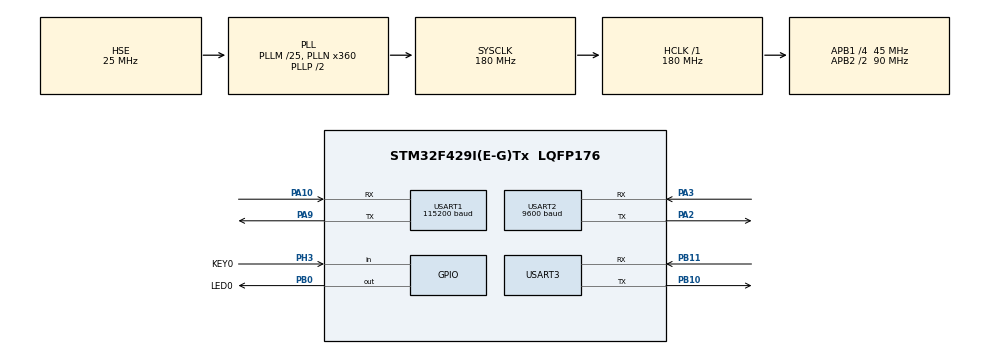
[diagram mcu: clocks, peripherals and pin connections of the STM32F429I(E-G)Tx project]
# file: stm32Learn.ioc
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FREERTOS.Tasks01=dataPushTask,0,1024,DataPushTask,Default,NULL,Dynamic,NULL,NULL
FREERTOS.configCHECK_FOR_STACK_OVERFLOW=2
FREERTOS.configTOTAL_HEAP_SIZE=102400
FREERTOS.configUSE_MALLOC_FAILED_HOOK=1
FREERTOS.configUSE_NEWLIB_REENTRANT=1
FREERTOS.configUSE_STATS_FORMATTING_FUNCTIONS=1
Mcu.Family=STM32F4
Mcu.Name=STM32F429I(E-G)Tx
Mcu.Package=LQFP176
NVIC.PriorityGroup=NVIC_PRIORITYGROUP_4
NVIC.TIM6_DAC_IRQn=true\:15\:0\:false\:false\:true\:false\:false\:true\:true
NVIC.TimeBase=TIM6_DAC_IRQn
NVIC.TimeBaseIP=TIM6
NVIC.USART1_IRQn=true\:5\:0\:true\:false\:true\:true\:true\:true\:true
NVIC.USART2_IRQn=true\:5\:0\:true\:false\:true\:true\:true\:true\:true
NVIC.USART3_IRQn=true\:5\:0\:true\:false\:true\:true\:true\:true\:true
PA10.GPIO_ModeDefaultPP=GPIO_MODE_AF_PP
PA10.GPIO_PuPd=GPIO_NOPULL
PA10.GPIO_Speed=GPIO_SPEED_FREQ_VERY_HIGH
PA10.Mode=Asynchronous
PA10.Signal=USART1_RX
PA13.Mode=Serial_Wire
PA13.Signal=SYS_JTMS-SWDIO
PA14.Mode=Serial_Wire
PA14.Signal=SYS_JTCK-SWCLK
PA2.Mode=Asynchronous
PA2.Signal=USART2_TX
PA3.Mode=Asynchronous
PA3.Signal=USART2_RX
PA9.GPIO_ModeDefaultPP=GPIO_MODE_AF_PP
PA9.GPIO_PuPd=GPIO_NOPULL
PA9.GPIO_Speed=GPIO_SPEED_FREQ_VERY_HIGH
PA9.Mode=Asynchronous
PA9.Signal=USART1_TX
PB0.GPIO_Label=LED0
PB0.GPIO_PuPd=GPIO_PULLUP
PB0.GPIO_Speed=GPIO_SPEED_FREQ_LOW
PB0.PinState=GPIO_PIN_SET
PB0.Signal=GPIO_Output
PB10.Mode=Asynchronous
PB10.Signal=USART3_TX
PB11.Mode=Asynchronous
PB11.Signal=USART3_RX
PC14/OSC32_IN.Mode=LSE-External-Oscillator
PC14/OSC32_IN.Signal=RCC_OSC32_IN
PC15/OSC32_OUT.Mode=LSE-External-Oscillator
PC15/OSC32_OUT.Signal=RCC_OSC32_OUT
PH0/OSC_IN.Mode=HSE-External-Oscillator
PH0/OSC_IN.Signal=RCC_OSC_IN
PH1/OSC_OUT.Mode=HSE-External-Oscillator
PH1/OSC_OUT.Signal=RCC_OSC_OUT
PH3.GPIO_Label=KEY0
PH3.GPIO_PuPd=GPIO_PULLUP
PH3.Signal=GPIO_Input
ProjectManager.HeapSize=0x200
ProjectManager.StackSize=0x400
ProjectManager.TargetToolchain=STM32CubeIDE
RCC.48MHZClocksFreq_Value=90000000
RCC.AHBFreq_Value=180000000
RCC.APB1CLKDivider=RCC_HCLK_DIV4
RCC.APB1Freq_Value=45000000
RCC.APB1TimFreq_Value=90000000
RCC.APB2CLKDivider=RCC_HCLK_DIV2
RCC.APB2Freq_Value=90000000
RCC.APB2TimFreq_Value=180000000
RCC.CortexFreq_Value=180000000
RCC.HCLKFreq_Value=180000000
RCC.HSE_VALUE=25000000
RCC.HSI_VALUE=16000000
RCC.PLLM=25
RCC.PLLN=360
RCC.PLLSourceVirtual=RCC_PLLSOURCE_HSE
RCC.SYSCLKFreq_VALUE=180000000
RCC.SYSCLKSource=RCC_SYSCLKSOURCE_PLLCLK
RCC.VCOOutputFreq_Value=360000000
USART1.BaudRate=115200
USART1.VirtualMode=VM_ASYNC
USART2.BaudRate=9600
USART2.VirtualMode=VM_ASYNC
USART3.VirtualMode=VM_ASYNC
VP_FREERTOS_VS_CMSIS_V1.Mode=CMSIS_V1
VP_SYS_VS_tim6.Mode=TIM6
board=custom

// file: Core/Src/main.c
/* USER CODE BEGIN Header */
/**
  ******************************************************************************
  * @file           : main.c
  * @brief          : Main program body
  ******************************************************************************
  * @attention
  *
  * Copyright (c) 2022 STMicroelectronics.
  * All rights reserved.
  *
  * This software is licensed under terms that can be found in the LICENSE file
  * in the root directory of this software component.
  * If no LICENSE file comes with this software, it is provided AS-IS.
  *
  ******************************************************************************
  */
/* USER CODE END Header */
#include "main.h"
#include "cmsis_os.h"
#include "usart.h"
#include "gpio.h"

void SystemClock_Config(void);
void MX_FREERTOS_Init(void);
/* USER CODE BEGIN PFP */
#define PUTCHAR_PROTOTYPE int __io_putchar(int ch)
uint8_t g_uart1_transmit_buff[1];
/* USER CODE END PFP */

/* USER CODE BEGIN 0 */

PUTCHAR_PROTOTYPE {
    g_uart1_transmit_buff[0] = (uint8_t) ch;
    HAL_UART_Transmit(&huart1, g_uart1_transmit_buff, 1, 100);
    return ch;
}
/* USER CODE END 0 */

int main(void)
{

  /* MCU Configuration--------------------------------------------------------*/

  /* Reset of all peripherals, Initializes the Flash interface and the Systick. */
  HAL_Init();

  /* Configure the system clock */
  SystemClock_Config();

  /* Initialize all configured peripherals */
  MX_GPIO_Init();
  MX_USART1_UART_Init();
  MX_USART2_UART_Init();
  MX_USART3_UART_Init();

  /* Call init function for freertos objects (in freertos.c) */
  MX_FREERTOS_Init();

  /* Start scheduler */
  osKernelStart();

  /* We should never get here as control is now taken by the scheduler */
  /* Infinite loop */
    while (1) {

    }
}

void SystemClock_Config(void)
{
  RCC_OscInitTypeDef RCC_OscInitStruct = {0};
  RCC_ClkInitTypeDef RCC_ClkInitStruct = {0};

  /** Configure the main internal regulator output voltage
  */
  __HAL_RCC_PWR_CLK_ENABLE();
  __HAL_PWR_VOLTAGESCALING_CONFIG(PWR_REGULATOR_VOLTAGE_SCALE1);

  /** Initializes the RCC Oscillators according to the specified parameters
  * in the RCC_OscInitTypeDef structure.
  */
  RCC_OscInitStruct.OscillatorType = RCC_OSCILLATORTYPE_HSE;
  RCC_OscInitStruct.HSEState = RCC_HSE_ON;
  RCC_OscInitStruct.PLL.PLLState = RCC_PLL_ON;
  RCC_OscInitStruct.PLL.PLLSource = RCC_PLLSOURCE_HSE;
  RCC_OscInitStruct.PLL.PLLM = 25;
  RCC_OscInitStruct.PLL.PLLN = 360;
  RCC_OscInitStruct.PLL.PLLP = RCC_PLLP_DIV2;
  RCC_OscInitStruct.PLL.PLLQ = 4;
  if (HAL_RCC_OscConfig(&RCC_OscInitStruct) != HAL_OK)
  {
    Error_Handler();
  }

  /** Activate the Over-Drive mode
  */
  if (HAL_PWREx_EnableOverDrive() != HAL_OK)
  {
    Error_Handler();
  }

  /** Initializes the CPU, AHB and APB buses clocks
  */
  RCC_ClkInitStruct.ClockType = RCC_CLOCKTYPE_HCLK|RCC_CLOCKTYPE_SYSCLK
                              |RCC_CLOCKTYPE_PCLK1|RCC_CLOCKTYPE_PCLK2;
  RCC_ClkInitStruct.SYSCLKSource = RCC_SYSCLKSOURCE_PLLCLK;
  RCC_ClkInitStruct.AHBCLKDivider = RCC_SYSCLK_DIV1;
  RCC_ClkInitStruct.APB1CLKDivider = RCC_HCLK_DIV4;
  RCC_ClkInitStruct.APB2CLKDivider = RCC_HCLK_DIV2;

  if (HAL_RCC_ClockConfig(&RCC_ClkInitStruct, FLASH_LATENCY_5) != HAL_OK)
  {
    Error_Handler();
  }
}

void HAL_TIM_PeriodElapsedCallback(TIM_HandleTypeDef *htim)
{
  if (htim->Instance == TIM6) {
    HAL_IncTick();
  }
}

void Error_Handler(void)
{
    __disable_irq();
    while (1) {
    }
}

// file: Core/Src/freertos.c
/* USER CODE BEGIN Header */
/**
  ******************************************************************************
  * File Name          : freertos.c
  * Description        : Code for freertos applications
  ******************************************************************************
  * @attention
  *
  * Copyright (c) 2023 STMicroelectronics.
  * All rights reserved.
  *
  * This software is licensed under terms that can be found in the LICENSE file
  * in the root directory of this software component.
  * If no LICENSE file comes with this software, it is provided AS-IS.
  *
  ******************************************************************************
  */
/* USER CODE END Header */

#include "FreeRTOS.h"
#include "task.h"
#include "main.h"
#include "cmsis_os.h"

/* USER CODE BEGIN Includes */

#include "usart.h"
#include "at_log.h"
#include "qcloud_iot_export_data_template.h"
/* USER CODE END Includes */

osThreadId dataPushTaskHandle;

/* USER CODE BEGIN FunctionPrototypes */
void mqtt_sample(void);

void data_template_sample(void);

/* USER CODE END FunctionPrototypes */

void DataPushTask(void const * argument);

void MX_FREERTOS_Init(void); /* (MISRA C 2004 rule 8.1) */

/* GetIdleTaskMemory prototype (linked to static allocation support) */
void vApplicationGetIdleTaskMemory( StaticTask_t **ppxIdleTaskTCBBuffer, StackType_t **ppxIdleTaskStackBuffer, uint32_t *pulIdleTaskStackSize );

/* Hook prototypes */
void vApplicationStackOverflowHook(xTaskHandle xTask, signed char *pcTaskName);
void vApplicationMallocFailedHook(void);

/* USER CODE BEGIN 4 */
void vApplicationStackOverflowHook(xTaskHandle xTask, signed char *pcTaskName) {
    /* Run time stack overflow checking is performed if
    configCHECK_FOR_STACK_OVERFLOW is defined to 1 or 2. This hook function is
    called if a stack overflow is detected. */
    Log_e("%s have been stack over flow", pcTaskName);
}
/* USER CODE END 4 */

/* USER CODE BEGIN 5 */
void vApplicationMallocFailedHook(void) {
    /* vApplicationMallocFailedHook() will only be called if
    configUSE_MALLOC_FAILED_HOOK is set to 1 in FreeRTOSConfig.h. It is a hook
    function that will get called if a call to pvPortMalloc() fails.
    pvPortMalloc() is called internally by the kernel whenever a task, queue,
    timer or semaphore is created. It is also called by various parts of the
    demo application. If heap_1.c or heap_2.c are used, then the size of the
    heap available to pvPortMalloc() is defined by configTOTAL_HEAP_SIZE in
    FreeRTOSConfig.h, and the xPortGetFreeHeapSize() API function can be used
    to query the size of free heap space that remains (although it does not
    provide information on how the remaining heap might be fragmented). */
    Log_e("malloc failed");
}
/* USER CODE END 5 */

/* USER CODE BEGIN GET_IDLE_TASK_MEMORY */
static StaticTask_t xIdleTaskTCBBuffer;
static StackType_t xIdleStack[configMINIMAL_STACK_SIZE];

void vApplicationGetIdleTaskMemory(StaticTask_t **ppxIdleTaskTCBBuffer, StackType_t **ppxIdleTaskStackBuffer,
                                   uint32_t *pulIdleTaskStackSize) {
    *ppxIdleTaskTCBBuffer = &xIdleTaskTCBBuffer;
    *ppxIdleTaskStackBuffer = &xIdleStack[0];
    *pulIdleTaskStackSize = configMINIMAL_STACK_SIZE;
    /* place for user code */
}
/* USER CODE END GET_IDLE_TASK_MEMORY */

void MX_FREERTOS_Init(void) {

  /* Create the thread(s) */
  /* definition and creation of dataPushTask */
  osThreadDef(dataPushTask, DataPushTask, osPriorityNormal, 0, 1024);
  dataPushTaskHandle = osThreadCreate(osThread(dataPushTask), NULL);

  /* USER CODE BEGIN RTOS_THREADS */
    /* add threads, ... */

    data_template_sample();
  /* USER CODE END RTOS_THREADS */

}

void DataPushTask(void const * argument)
{
  /* USER CODE BEGIN DataPushTask */
    /* Infinite loop */
    for (;;) {
        ulTaskNotifyTake(pdTRUE, portMAX_DELAY);
        Uart_Receive_M4255_Clean(&uart2ReceiveData);
        // [5-6] ic card type
        // [7-10] ic card number
        // [11-26] 16 block data
        uint8_t *sg_IcCartAuth_IcKey = get_sg_IcCartAuth_IcKey();
        for (int i = 0; i < 16; ++i) {
            sg_IcCartAuth_IcKey[i] = uart2ReceiveData.data[i + 11];
        }
        sg_IcCartAuth_IcKey[16] = '\0';

        // trigger event
        void *client = get_template_client();
        IOT_Event_setFlag(client, FLAG_EVENT0);

    }
  /* USER CODE END DataPushTask */
}
